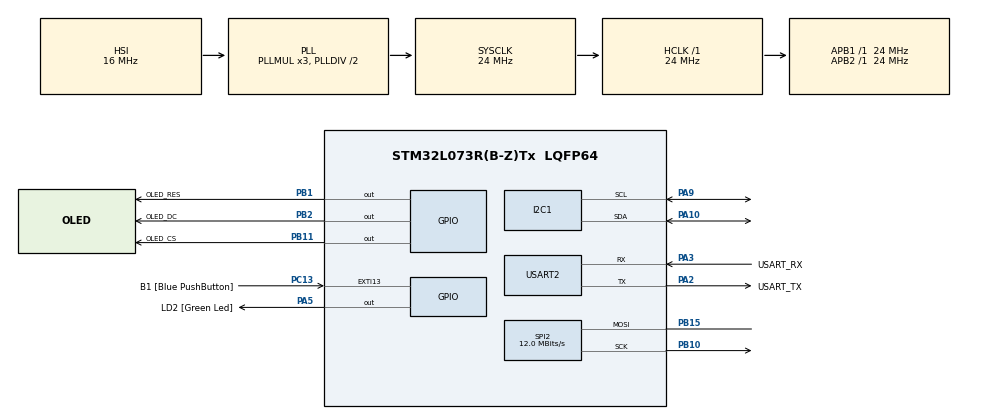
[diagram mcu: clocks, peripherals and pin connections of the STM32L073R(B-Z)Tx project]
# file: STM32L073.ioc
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I2C1.Timing=0x00805C87
Mcu.Family=STM32L0
Mcu.Name=STM32L073R(B-Z)Tx
Mcu.Package=LQFP64
NVIC.TIM6_DAC_IRQn=true\:0\:0\:false\:false\:true\:true\:true\:true
NVIC.USART2_IRQn=true\:0\:0\:false\:false\:true\:true\:true\:true
PA10.Mode=I2C
PA10.Signal=I2C1_SDA
PA13.GPIO_Label=TMS
PA13.Mode=Serial_Wire
PA13.Signal=SYS_SWDIO
PA14.GPIO_Label=TCK
PA14.Mode=Serial_Wire
PA14.Signal=SYS_SWCLK
PA2.GPIO_Label=USART_TX
PA2.Mode=Asynchronous
PA2.Signal=USART2_TX
PA3.GPIO_Label=USART_RX
PA3.Mode=Asynchronous
PA3.Signal=USART2_RX
PA5.GPIO_Label=LD2 [Green Led]
PA5.Signal=GPIO_Output
PA9.Mode=I2C
PA9.Signal=I2C1_SCL
PB1.GPIO_Label=OLED_RES
PB1.Signal=GPIO_Output
PB10.Mode=Simplex_Bidirectional_Master
PB10.Signal=SPI2_SCK
PB11.GPIO_Label=OLED_CS
PB11.Signal=GPIO_Output
PB15.Mode=Simplex_Bidirectional_Master
PB15.Signal=SPI2_MOSI
PB2.GPIO_Label=OLED_DC
PB2.Signal=GPIO_Output
PC13.GPIO_Label=B1 [Blue PushButton]
PC13.GPIO_ModeDefaultEXTI=GPIO_MODE_IT_FALLING
PC13.Signal=GPXTI13
PC14-OSC32_IN.Mode=LSE-External-Oscillator
PC14-OSC32_IN.Signal=RCC_OSC32_IN
PC15-OSC32_OUT.Mode=LSE-External-Oscillator
PC15-OSC32_OUT.Signal=RCC_OSC32_OUT
PH0-OSC_IN.GPIO_Label=MCO
PH0-OSC_IN.Mode=HSE-External-Clock-Source
PH0-OSC_IN.Signal=RCC_OSC_IN
ProjectManager.HeapSize=0x200
ProjectManager.StackSize=0x400
ProjectManager.TargetToolchain=MDK-ARM V5.32
RCC.AHBFreq_Value=24000000
RCC.APB1Freq_Value=24000000
RCC.APB1TimFreq_Value=24000000
RCC.APB2Freq_Value=24000000
RCC.APB2TimFreq_Value=24000000
RCC.HCLKFreq_Value=24000000
RCC.HSE_VALUE=8000000
RCC.HSI16_VALUE=16000000
RCC.HSI48_VALUE=48000000
RCC.HSI_VALUE=16000000
RCC.MSI_VALUE=2097000
RCC.SYSCLKFreq_VALUE=24000000
RCC.SYSCLKSource=RCC_SYSCLKSOURCE_PLLCLK
RCC.VCOOutputFreq_Value=48000000
SPI2.BaudRatePrescaler=SPI_BAUDRATEPRESCALER_2
SPI2.CalculateBaudRate=12.0 MBits/s
SPI2.Direction=SPI_DIRECTION_1LINE
SPI2.Mode=SPI_MODE_MASTER
SPI2.VirtualType=VM_MASTER
TIM6.Period=600
TIM6.Prescaler=1000
USART2.VirtualMode-Asynchronous=VM_ASYNC
VP_TIM6_VS_ClockSourceINT.Mode=Enable_Timer
board=NUCLEO-L073RZ

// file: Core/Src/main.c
/* USER CODE BEGIN Header */
/**
  ******************************************************************************
  * @file           : main.c
  * @brief          : Main program body
  ******************************************************************************
  * @attention
  *
  * Copyright (c) 2023 STMicroelectronics.
  * All rights reserved.
  *
  * This software is licensed under terms that can be found in the LICENSE file
  * in the root directory of this software component.
  * If no LICENSE file comes with this software, it is provided AS-IS.
  *
  ******************************************************************************
  */
/* USER CODE END Header */
#include "main.h"

/* USER CODE BEGIN Includes */
#include "stm32l0xx_hal.h"
#include <stdio.h>
#include "ssd1306.h"
#include "ssd1306_conf_template.h"
#include "ssd1306_fonts.h"
#include "Statechart.h"
#include "Statechart_required.h"

/* USER CODE END Includes */

I2C_HandleTypeDef hi2c1;

SPI_HandleTypeDef hspi2;

TIM_HandleTypeDef htim6;

UART_HandleTypeDef huart2;

void SystemClock_Config(void);
static void MX_GPIO_Init(void);
static void MX_USART2_UART_Init(void);
static void MX_I2C1_Init(void);
static void MX_SPI2_Init(void);
static void MX_TIM6_Init(void);

/* USER CODE BEGIN 0 */
#define I2C_TIMEOUT 1000

#define BUFFERLEN 8 //25ms * 8 = 200ms
#define NUM_CHANNELS 2

// BH1750 adresai
#define BH1750_ADDR_L 0x23
#define BH1750_ADDR_H 0x5C

// BH1750 komandos
#define BH1750_POWER_DOWN 0x00
#define BH1750_POWER_ON 0x01
#define BH1750_RESET 0x07
#define BH1750_CONT_H_RES 0x10 // 1 lx skyra
#define BH1750_CONT_H_RES2 0x11 // 0.5 lx skyra
#define BH1750_CONT_L_RES 0x13 // 4 lx skyra

float lux[NUM_CHANNELS][BUFFERLEN];
float avg,min,max;

Statechart sc_handle; // Statechart pointer

void MyErrorHandlerI2C()
{

}

void statechart_bH1750_Startup( Statechart* handle){
	// sensorius ijungiamas
	uint8_t cmd = BH1750_POWER_ON;

	// ADDR=L sensorius
	if (HAL_I2C_Master_Transmit(&hi2c1, BH1750_ADDR_L<<1, &cmd, 1, I2C_TIMEOUT)!=HAL_OK){
		MyErrorHandlerI2C();
	}
	// nustatomas matavimo rezimas
	cmd = BH1750_CONT_L_RES;
	if (HAL_I2C_Master_Transmit(&hi2c1, BH1750_ADDR_L<<1, &cmd, 1, I2C_TIMEOUT)!=HAL_OK){
		MyErrorHandlerI2C();
	}

	// ADDR=H sensorius
	cmd = BH1750_POWER_ON;
	if (HAL_I2C_Master_Transmit(&hi2c1, BH1750_ADDR_H<<1, &cmd, 1, I2C_TIMEOUT)!=HAL_OK){
		MyErrorHandlerI2C();
	}
	cmd = BH1750_CONT_L_RES;
	if (HAL_I2C_Master_Transmit(&hi2c1, BH1750_ADDR_H<<1, &cmd, 1, I2C_TIMEOUT)!=HAL_OK){
		MyErrorHandlerI2C();
	}

	return;
}

extern void statechart_bH1750_Read( Statechart* handle, const sc_integer channel, const sc_integer sample){

	uint8_t addr[2]={BH1750_ADDR_L,BH1750_ADDR_H};
	uint8_t buffer[2];

	if (HAL_I2C_Master_Receive(&hi2c1, addr[channel]<<1, buffer, 2, I2C_TIMEOUT)!=HAL_OK){
		MyErrorHandlerI2C();
	}

  uint16_t raw = (buffer[0] << 8) | buffer[1];
	lux[channel][sample]=raw/1.2f;
	return;
}

void statechart_processData( Statechart* handle){
	min = lux[0][0];
	max = lux[0][0];
	int sum = 0;

	for(uint8_t i = 0; i < NUM_CHANNELS; i++){
		for(uint8_t j = 0; j < BUFFERLEN; j++){
			if(lux[i][j]>max) max = lux[i][j];
			if(lux[i][j]<min) min = lux[i][j];
			sum+=(int)lux[i][j];
		}
	}

	avg=sum/(float)(NUM_CHANNELS*BUFFERLEN);

	return;
}

void statechart_transferToPC( Statechart* handle){
		char msg[16];
		sprintf(msg,"avg=%5d lux \n",(int)avg);
		HAL_UART_Transmit(&huart2, (uint8_t*)msg, sizeof(msg) - 1,HAL_MAX_DELAY);
		sprintf(msg,"min=%5d lux \n",(int)min);
		HAL_UART_Transmit(&huart2, (uint8_t*)msg, sizeof(msg) - 1,HAL_MAX_DELAY);
		sprintf(msg,"max=%5d lux\n\n",(int)max);
		HAL_UART_Transmit(&huart2, (uint8_t*)msg, sizeof(msg) - 1,HAL_MAX_DELAY);
}

void statechart_displayData( Statechart* handle){
		char msg[30];

		ssd1306_SetCursor(0, 0);
		sprintf(msg,"AVG=%d lx    ",(int)avg);
		ssd1306_WriteString(msg,Font_7x10, White);
		ssd1306_SetCursor(0, 20);
		sprintf(msg,"MIN=%d lx    ",(int)min);
		ssd1306_WriteString(msg,Font_7x10, White);
		ssd1306_SetCursor(0, 40);
		sprintf(msg,"MAX=%d lx    ",(int)max);
		ssd1306_WriteString(msg,Font_7x10, White);
		ssd1306_UpdateScreen();
}

void HAL_TIM_PeriodElapsedCallback(TIM_HandleTypeDef *htim)
{
  if (htim==&htim6){
		statechart_raise_timerIntr(&sc_handle);
	}
}

/* USER CODE END 0 */

int main(void)
{

  /* MCU Configuration--------------------------------------------------------*/

  /* Reset of all peripherals, Initializes the Flash interface and the Systick. */
  HAL_Init();

  /* Configure the system clock */
  SystemClock_Config();

  /* Initialize all configured peripherals */
  MX_GPIO_Init();
  MX_USART2_UART_Init();
  MX_I2C1_Init();
  MX_SPI2_Init();
  MX_TIM6_Init();

  /* Infinite loop */
  /* USER CODE BEGIN WHILE */

	HAL_Delay(1000);
	ssd1306_Init();
	ssd1306_Fill(Black);
	ssd1306_SetCursor(0, 0);
	ssd1306_WriteString("Starting...",Font_7x10, White);
  ssd1306_UpdateScreen();

  statechart_init(&sc_handle);
  statechart_enter(&sc_handle);

		if(HAL_TIM_Base_Start_IT(&htim6) != HAL_OK) //run TIM6 timer
   {
    //ErrorHandler();
   }

		while(1)
  {

    /* USER CODE END WHILE */

    /* USER CODE BEGIN 3 */
  }
		//statechart_exit(&sc_handle);
  /* USER CODE END 3 */
}

void SystemClock_Config(void)
{
  RCC_OscInitTypeDef RCC_OscInitStruct = {0};
  RCC_ClkInitTypeDef RCC_ClkInitStruct = {0};
  RCC_PeriphCLKInitTypeDef PeriphClkInit = {0};

  /** Configure the main internal regulator output voltage
  */
  __HAL_PWR_VOLTAGESCALING_CONFIG(PWR_REGULATOR_VOLTAGE_SCALE1);

  /** Initializes the RCC Oscillators according to the specified parameters
  * in the RCC_OscInitTypeDef structure.
  */
  RCC_OscInitStruct.OscillatorType = RCC_OSCILLATORTYPE_HSI;
  RCC_OscInitStruct.HSIState = RCC_HSI_ON;
  RCC_OscInitStruct.HSICalibrationValue = RCC_HSICALIBRATION_DEFAULT;
  RCC_OscInitStruct.PLL.PLLState = RCC_PLL_ON;
  RCC_OscInitStruct.PLL.PLLSource = RCC_PLLSOURCE_HSI;
  RCC_OscInitStruct.PLL.PLLMUL = RCC_PLLMUL_3;
  RCC_OscInitStruct.PLL.PLLDIV = RCC_PLLDIV_2;
  if (HAL_RCC_OscConfig(&RCC_OscInitStruct) != HAL_OK)
  {
    Error_Handler();
  }

  /** Initializes the CPU, AHB and APB buses clocks
  */
  RCC_ClkInitStruct.ClockType = RCC_CLOCKTYPE_HCLK|RCC_CLOCKTYPE_SYSCLK
                              |RCC_CLOCKTYPE_PCLK1|RCC_CLOCKTYPE_PCLK2;
  RCC_ClkInitStruct.SYSCLKSource = RCC_SYSCLKSOURCE_PLLCLK;
  RCC_ClkInitStruct.AHBCLKDivider = RCC_SYSCLK_DIV1;
  RCC_ClkInitStruct.APB1CLKDivider = RCC_HCLK_DIV1;
  RCC_ClkInitStruct.APB2CLKDivider = RCC_HCLK_DIV1;

  if (HAL_RCC_ClockConfig(&RCC_ClkInitStruct, FLASH_LATENCY_1) != HAL_OK)
  {
    Error_Handler();
  }
  PeriphClkInit.PeriphClockSelection = RCC_PERIPHCLK_USART2|RCC_PERIPHCLK_I2C1;
  PeriphClkInit.Usart2ClockSelection = RCC_USART2CLKSOURCE_PCLK1;
  PeriphClkInit.I2c1ClockSelection = RCC_I2C1CLKSOURCE_PCLK1;
  if (HAL_RCCEx_PeriphCLKConfig(&PeriphClkInit) != HAL_OK)
  {
    Error_Handler();
  }
}

static void MX_I2C1_Init(void)
{

  hi2c1.Instance = I2C1;
  hi2c1.Init.Timing = 0x00805C87;
  hi2c1.Init.OwnAddress1 = 0;
  hi2c1.Init.AddressingMode = I2C_ADDRESSINGMODE_7BIT;
  hi2c1.Init.DualAddressMode = I2C_DUALADDRESS_DISABLE;
  hi2c1.Init.OwnAddress2 = 0;
  hi2c1.Init.OwnAddress2Masks = I2C_OA2_NOMASK;
  hi2c1.Init.GeneralCallMode = I2C_GENERALCALL_DISABLE;
  hi2c1.Init.NoStretchMode = I2C_NOSTRETCH_DISABLE;
  if (HAL_I2C_Init(&hi2c1) != HAL_OK)
  {
    Error_Handler();
  }

  /** Configure Analogue filter
  */
  if (HAL_I2CEx_ConfigAnalogFilter(&hi2c1, I2C_ANALOGFILTER_ENABLE) != HAL_OK)
  {
    Error_Handler();
  }

  /** Configure Digital filter
  */
  if (HAL_I2CEx_ConfigDigitalFilter(&hi2c1, 0) != HAL_OK)
  {
    Error_Handler();
  }

}

static void MX_SPI2_Init(void)
{

  /* SPI2 parameter configuration*/
  hspi2.Instance = SPI2;
  hspi2.Init.Mode = SPI_MODE_MASTER;
  hspi2.Init.Direction = SPI_DIRECTION_1LINE;
  hspi2.Init.DataSize = SPI_DATASIZE_8BIT;
  hspi2.Init.CLKPolarity = SPI_POLARITY_LOW;
  hspi2.Init.CLKPhase = SPI_PHASE_1EDGE;
  hspi2.Init.NSS = SPI_NSS_SOFT;
  hspi2.Init.BaudRatePrescaler = SPI_BAUDRATEPRESCALER_2;
  hspi2.Init.FirstBit = SPI_FIRSTBIT_MSB;
  hspi2.Init.TIMode = SPI_TIMODE_DISABLE;
  hspi2.Init.CRCCalculation = SPI_CRCCALCULATION_DISABLE;
  hspi2.Init.CRCPolynomial = 7;
  if (HAL_SPI_Init(&hspi2) != HAL_OK)
  {
    Error_Handler();
  }

}

static void MX_TIM6_Init(void)
{

  TIM_MasterConfigTypeDef sMasterConfig = {0};

  htim6.Instance = TIM6;
  htim6.Init.Prescaler = 1000;
  htim6.Init.CounterMode = TIM_COUNTERMODE_UP;
  htim6.Init.Period = 600;
  htim6.Init.AutoReloadPreload = TIM_AUTORELOAD_PRELOAD_DISABLE;
  if (HAL_TIM_Base_Init(&htim6) != HAL_OK)
  {
    Error_Handler();
  }
  sMasterConfig.MasterOutputTrigger = TIM_TRGO_RESET;
  sMasterConfig.MasterSlaveMode = TIM_MASTERSLAVEMODE_DISABLE;
  if (HAL_TIMEx_MasterConfigSynchronization(&htim6, &sMasterConfig) != HAL_OK)
  {
    Error_Handler();
  }

}

static void MX_USART2_UART_Init(void)
{

  huart2.Instance = USART2;
  huart2.Init.BaudRate = 115200;
  huart2.Init.WordLength = UART_WORDLENGTH_8B;
  huart2.Init.StopBits = UART_STOPBITS_1;
  huart2.Init.Parity = UART_PARITY_NONE;
  huart2.Init.Mode = UART_MODE_TX_RX;
  huart2.Init.HwFlowCtl = UART_HWCONTROL_NONE;
  huart2.Init.OverSampling = UART_OVERSAMPLING_16;
  huart2.Init.OneBitSampling = UART_ONE_BIT_SAMPLE_DISABLE;
  huart2.AdvancedInit.AdvFeatureInit = UART_ADVFEATURE_NO_INIT;
  if (HAL_UART_Init(&huart2) != HAL_OK)
  {
    Error_Handler();
  }

}

static void MX_GPIO_Init(void)
{
  GPIO_InitTypeDef GPIO_InitStruct = {0};

  /* GPIO Ports Clock Enable */
  __HAL_RCC_GPIOC_CLK_ENABLE();
  __HAL_RCC_GPIOH_CLK_ENABLE();
  __HAL_RCC_GPIOA_CLK_ENABLE();
  __HAL_RCC_GPIOB_CLK_ENABLE();

  /*Configure GPIO pin Output Level */
  HAL_GPIO_WritePin(LD2_GPIO_Port, LD2_Pin, GPIO_PIN_RESET);

  /*Configure GPIO pin Output Level */
  HAL_GPIO_WritePin(GPIOB, OLED_RES_Pin|OLED_DC_Pin|OLED_CS_Pin, GPIO_PIN_RESET);

  /*Configure GPIO pin : B1_Pin */
  GPIO_InitStruct.Pin = B1_Pin;
  GPIO_InitStruct.Mode = GPIO_MODE_IT_FALLING;
  GPIO_InitStruct.Pull = GPIO_NOPULL;
  HAL_GPIO_Init(B1_GPIO_Port, &GPIO_InitStruct);

  /*Configure GPIO pin : LD2_Pin */
  GPIO_InitStruct.Pin = LD2_Pin;
  GPIO_InitStruct.Mode = GPIO_MODE_OUTPUT_PP;
  GPIO_InitStruct.Pull = GPIO_NOPULL;
  GPIO_InitStruct.Speed = GPIO_SPEED_FREQ_LOW;
  HAL_GPIO_Init(LD2_GPIO_Port, &GPIO_InitStruct);

  /*Configure GPIO pins : OLED_RES_Pin OLED_DC_Pin OLED_CS_Pin */
  GPIO_InitStruct.Pin = OLED_RES_Pin|OLED_DC_Pin|OLED_CS_Pin;
  GPIO_InitStruct.Mode = GPIO_MODE_OUTPUT_PP;
  GPIO_InitStruct.Pull = GPIO_NOPULL;
  GPIO_InitStruct.Speed = GPIO_SPEED_FREQ_LOW;
  HAL_GPIO_Init(GPIOB, &GPIO_InitStruct);

}

void Error_Handler(void)
{
  __disable_irq();
  while (1)
  {
  }
}
